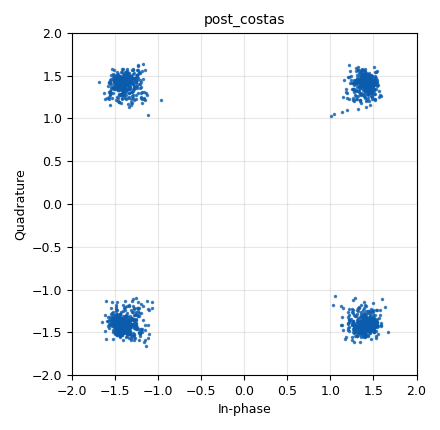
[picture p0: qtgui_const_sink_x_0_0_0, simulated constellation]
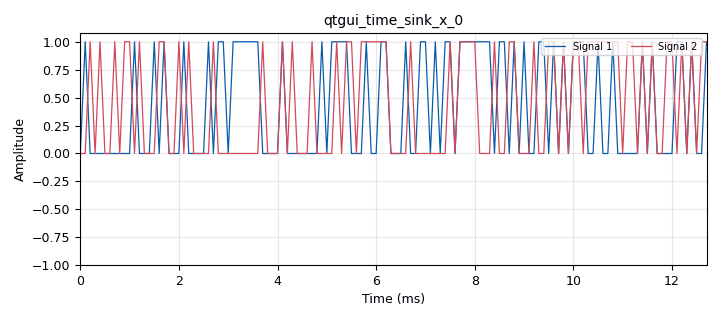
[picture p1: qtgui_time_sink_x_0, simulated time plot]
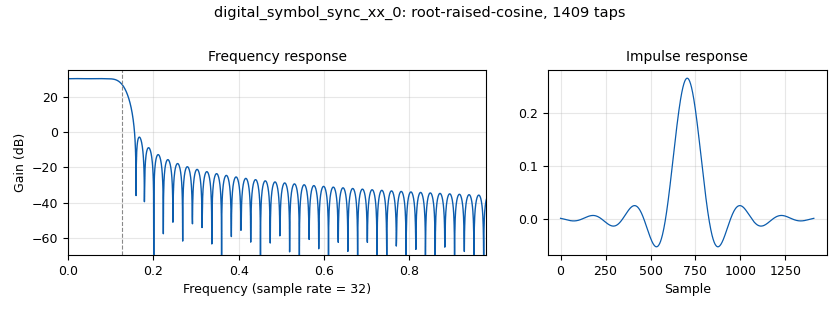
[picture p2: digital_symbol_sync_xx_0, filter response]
options:
  parameters:
    author: J. Gier
    generate_options: qt_gui
    id: qpsk_trial1
    output_language: python
    title: QPSK Modulator / Demodulator
  states: {}

blocks:
- name: cma_alg
  id: variable_adaptive_algorithm
  parameters:
    cons: qpsk
    modulus: '4'
    step_size: '100e-6'
    type: cma
  states: {}
- name: delay
  id: variable_qtgui_range
  parameters:
    label: Delay
    start: '0'
    step: '1'
    stop: '500'
    value: '58'
  states: {}
- name: excess_bw
  id: variable
  parameters:
    value: '0.220'
  states: {}
- name: freq_offset
  id: variable_qtgui_range
  parameters:
    label: 'Channel: Freq Offset'
    start: '-100e-3'
    step: '10e-3'
    stop: '100e-3'
    value: '0'
  states: {}
- name: nfilts
  id: variable
  parameters:
    value: '32'
  states: {}
- name: noise_volt
  id: variable_qtgui_range
  parameters:
    label: 'Channel: Noise Voltage'
    start: '0'
    step: '100e-3'
    stop: '500e-3'
    value: '10E-3'
  states: {}
- name: phase_bw
  id: variable
  parameters:
    value: '62.8e-3'
  states: {}
- name: qpsk
  id: variable_constellation
  parameters:
    precision: '8'
    type: qpsk
  states: {}
- name: rrc_taps
  id: variable
  parameters:
    value: firdes.root_raised_cosine(nfilts, nfilts, 1.0/float(sps), excess_bw, 11*sps*nfilts)
  states: {}
- name: samp_rate
  id: variable
  parameters:
    value: 10e3
  states: {}
- name: sps
  id: variable
  parameters:
    value: '4'
  states: {}
- name: time_offset
  id: variable_qtgui_range
  parameters:
    label: 'Channel: time offset'
    start: '999e-3'
    step: '100e-6'
    stop: '1.001'
    value: '1'
  states: {}
- name: analog_random_source_x_0
  id: analog_random_source_x
  parameters:
    max: '255'
    min: '0'
    num_samps: '10000'
    repeat: 'True'
    type: byte
  states: {}
- name: blocks_char_to_float_0
  id: blocks_char_to_float
  parameters:
    scale: '1'
  states: {}
- name: blocks_char_to_float_0_0
  id: blocks_char_to_float
  parameters:
    scale: '1'
  states: {}
- name: blocks_char_to_float_1
  id: blocks_char_to_float
  parameters:
    scale: '1'
  states: {}
- name: blocks_delay_0
  id: blocks_delay
  parameters:
    delay: delay
    type: byte
  states: {}
- name: blocks_file_sink_0
  id: blocks_file_sink
  parameters:
    file: C:\Users\JoshGier\Desktop\Comms_Testing\gnu_radio_git\qpsk\files\outfile.txt
    type: byte
  states: {state: disabled}
- name: blocks_file_sink_0_0
  id: blocks_file_sink
  parameters:
    file: C:\Users\JoshGier\Desktop\Comms_Testing\gnu_radio_git\qpsk\files\sequence_test_in.bin
    type: byte
  states: {state: disabled}
- name: blocks_file_sink_0_0_0
  id: blocks_file_sink
  parameters:
    file: C:\Users\JoshGier\Desktop\Comms_Testing\gnu_radio_git\qpsk\files\sequence_test_out.bin
    type: byte
  states: {}
- name: blocks_file_source_0
  id: blocks_file_source
  parameters:
    file: C:\Users\JoshGier\Desktop\Comms_Testing\gnu_radio_git\qpsk\files\infile.txt
    repeat: 'False'
    type: byte
  states: {state: disabled}
- name: blocks_integrate_xx_0
  id: blocks_integrate_xx
  parameters:
    decim: '100'
    type: float
  states: {}
- name: blocks_multiply_const_vxx_0
  id: blocks_multiply_const_vxx
  parameters:
    const: '10e-3'
    type: float
  states: {}
- name: blocks_pack_k_bits_bb_0
  id: blocks_pack_k_bits_bb
  parameters:
    k: '8'
  states: {state: disabled}
- name: blocks_pack_k_bits_bb_0_0
  id: blocks_pack_k_bits_bb
  parameters:
    k: '8'
  states: {state: disabled}
- name: blocks_throttle2_0
  id: blocks_throttle2
  parameters:
    samples_per_second: samp_rate
    type: complex
  states: {}
- name: blocks_unpack_k_bits_bb_0
  id: blocks_unpack_k_bits_bb
  parameters:
    comment: 8 bits in a string in ASCII
    k: '8'
  states: {state: disabled}
- name: blocks_unpack_k_bits_bb_1
  id: blocks_unpack_k_bits_bb
  parameters:
    k: '2'
  states: {}
- name: blocks_unpack_k_bits_bb_1_0
  id: blocks_unpack_k_bits_bb
  parameters:
    k: '8'
  states: {}
- name: blocks_vector_source_x_0
  id: blocks_vector_source_x
  parameters:
    repeat: 'False'
    type: byte
    vector: (0,1,2,3,4,5,6,7,8,9,10,9,8,7,6,5,4,3,2,1,0)
  states: {state: disabled}
- name: blocks_xor_xx_0
  id: blocks_xor_xx
  parameters:
    type: byte
  states: {}
- name: channels_channel_model_0
  id: channels_channel_model
  parameters:
    comment: Epsilon is time offset
    epsilon: time_offset
    freq_offset: freq_offset
    noise_voltage: noise_volt
    seed: '0'
    taps: '1.0'
  states: {}
- name: digital_constellation_decoder_cb_0
  id: digital_constellation_decoder_cb
  parameters:
    constellation: qpsk
  states: {}
- name: digital_constellation_modulator_0
  id: digital_constellation_modulator
  parameters:
    constellation: qpsk
    differential: 'True'
    excess_bw: excess_bw
    samples_per_symbol: sps
  states: {}
- name: digital_costas_loop_cc_0
  id: digital_costas_loop_cc
  parameters:
    order: sps
    use_snr: 'True'
    w: 2*3.14/100
  states: {state: disabled}
- name: digital_diff_decoder_bb_0
  id: digital_diff_decoder_bb
  parameters:
    coding: digital.DIFF_DIFFERENTIAL
    modulus: '4'
  states: {}
- name: digital_linear_equalizer_0
  id: digital_linear_equalizer
  parameters:
    alg: cma_alg
    comment: Used to reduce ISI and multipath
    num_taps: '15'
    sps: '1'
    training_sequence: '[]'
  states: {state: disabled}
- name: digital_map_bb_0
  id: digital_map_bb
  parameters:
    map: '[0,1,2,3]'
  states: {}
- name: digital_pfb_clock_sync_xxx_0
  id: digital_pfb_clock_sync_xxx
  parameters:
    filter_size: nfilts
    init_phase: nfilts/2
    loop_bw: phase_bw
    max_dev: '1.5'
    osps: '1'
    sps: sps
    taps: rrc_taps
    type: ccf
  states: {state: disabled}
- name: digital_symbol_sync_xx_0
  id: digital_symbol_sync_xx
  parameters:
    damping: '1.0'
    loop_bw: phase_bw
    max_dev: '1.5'
    nfilters: nfilts
    osps: '1'
    pfb_mf_taps: rrc_taps
    resamp_type: digital.IR_PFB_MF
    sps: sps
    ted_gain: '1'
    ted_type: digital.TED_SIGNAL_TIMES_SLOPE_ML
    type: cc
  states: {}
- name: note_0
  id: note
  parameters:
    note: 'Source: https://wiki.gnuradio.org/index.php?title=QPSK_Mod_and_Demod#Objectives'
  states: {}
- name: qtgui_const_sink_x_0_0_0
  id: qtgui_const_sink_x
  parameters:
    name: post_costas
    size: '2056'
    type: complex
  states: {}
- name: qtgui_number_sink_0
  id: qtgui_number_sink
  parameters:
    graph_type: qtgui.NUM_GRAPH_HORIZ
    type: float
  states: {}
- name: qtgui_number_sink_1
  id: qtgui_number_sink
  parameters:
    graph_type: qtgui.NUM_GRAPH_NONE
    nconnections: '2'
    type: byte
  states: {state: disabled}
- name: qtgui_time_sink_x_0
  id: qtgui_time_sink_x
  parameters:
    nconnections: '2'
    size: '128'
    srate: samp_rate
    type: float
  states: {}
- name: virtual_sink_0
  id: virtual_sink
  parameters:
    stream_id: r1
  states: {}
- name: virtual_sink_1
  id: virtual_sink
  parameters:
    stream_id: r2
  states: {}
- name: virtual_sink_1_0
  id: virtual_sink
  parameters:
    stream_id: t1
  states: {}
- name: virtual_source_0
  id: virtual_source
  parameters:
    stream_id: r1
  states: {}
- name: virtual_source_1
  id: virtual_source
  parameters:
    stream_id: r2
  states: {}
- name: virtual_source_1_0
  id: virtual_source
  parameters:
    stream_id: t1
  states: {}
- name: virtual_source_1_0_0
  id: virtual_source
  parameters:
    stream_id: t1
  states: {state: disabled}
- name: virtual_source_1_0_0_0
  id: virtual_source
  parameters:
    stream_id: r2
  states: {state: disabled}

connections:
- [analog_random_source_x_0, '0', digital_constellation_modulator_0, '0']
- [analog_random_source_x_0, '0', virtual_sink_1_0, '0']
- [blocks_char_to_float_0, '0', qtgui_time_sink_x_0, '0']
- [blocks_char_to_float_0_0, '0', qtgui_time_sink_x_0, '1']
- [blocks_char_to_float_1, '0', blocks_integrate_xx_0, '0']
- [blocks_delay_0, '0', blocks_char_to_float_0_0, '0']
- [blocks_delay_0, '0', blocks_xor_xx_0, '1']
- [blocks_file_source_0, '0', blocks_unpack_k_bits_bb_0, '0']
- [blocks_integrate_xx_0, '0', blocks_multiply_const_vxx_0, '0']
- [blocks_multiply_const_vxx_0, '0', qtgui_number_sink_0, '0']
- [blocks_pack_k_bits_bb_0, '0', blocks_file_sink_0, '0']
- [blocks_pack_k_bits_bb_0, '0', qtgui_number_sink_1, '0']
- [blocks_pack_k_bits_bb_0_0, '0', qtgui_number_sink_1, '1']
- [blocks_throttle2_0, '0', channels_channel_model_0, '0']
- [blocks_unpack_k_bits_bb_0, '0', digital_constellation_modulator_0, '0']
- [blocks_unpack_k_bits_bb_0, '0', virtual_sink_1_0, '0']
- [blocks_unpack_k_bits_bb_1, '0', blocks_char_to_float_0, '0']
- [blocks_unpack_k_bits_bb_1, '0', blocks_file_sink_0_0_0, '0']
- [blocks_unpack_k_bits_bb_1, '0', blocks_xor_xx_0, '0']
- [blocks_unpack_k_bits_bb_1_0, '0', blocks_delay_0, '0']
- [blocks_vector_source_x_0, '0', blocks_file_sink_0_0, '0']
- [blocks_vector_source_x_0, '0', digital_constellation_modulator_0, '0']
- [blocks_vector_source_x_0, '0', virtual_sink_1_0, '0']
- [blocks_xor_xx_0, '0', blocks_char_to_float_1, '0']
- [channels_channel_model_0, '0', digital_pfb_clock_sync_xxx_0, '0']
- [channels_channel_model_0, '0', digital_symbol_sync_xx_0, '0']
- [digital_constellation_decoder_cb_0, '0', digital_diff_decoder_bb_0, '0']
- [digital_constellation_modulator_0, '0', blocks_throttle2_0, '0']
- [digital_costas_loop_cc_0, '0', digital_constellation_decoder_cb_0, '0']
- [digital_costas_loop_cc_0, '0', qtgui_const_sink_x_0_0_0, '0']
- [digital_diff_decoder_bb_0, '0', digital_map_bb_0, '0']
- [digital_linear_equalizer_0, '0', virtual_sink_0, '0']
- [digital_map_bb_0, '0', virtual_sink_1, '0']
- [digital_pfb_clock_sync_xxx_0, '0', virtual_sink_0, '0']
- [digital_symbol_sync_xx_0, '0', digital_linear_equalizer_0, '0']
- [digital_symbol_sync_xx_0, '0', virtual_sink_0, '0']
- [virtual_source_0, '0', digital_constellation_decoder_cb_0, '0']
- [virtual_source_0, '0', digital_costas_loop_cc_0, '0']
- [virtual_source_0, '0', qtgui_const_sink_x_0_0_0, '0']
- [virtual_source_1, '0', blocks_unpack_k_bits_bb_1, '0']
- [virtual_source_1_0, '0', blocks_unpack_k_bits_bb_1_0, '0']
- [virtual_source_1_0_0, '0', blocks_pack_k_bits_bb_0_0, '0']
- [virtual_source_1_0_0_0, '0', blocks_pack_k_bits_bb_0, '0']

metadata:
  file_format: 1
  grc_version: 3.10.12.0
